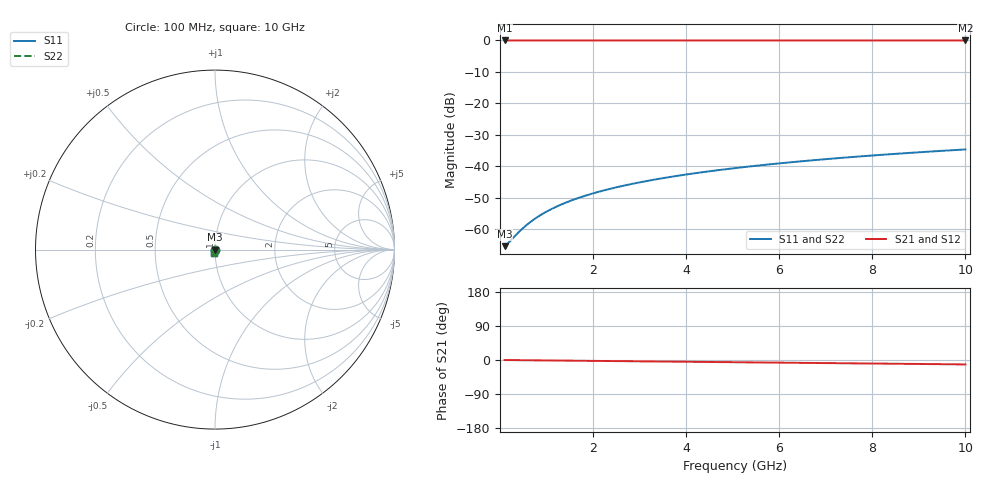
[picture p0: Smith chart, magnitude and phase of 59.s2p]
# Hz S RI R 50.00
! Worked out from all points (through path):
!   100 points, 100 MHz to 10 GHz, reference 50 ohm
!   highest |S21| = 0.00 dB at 100 MHz (marker M1); lowest = 0.0 dB at 10 GHz (marker M2)
!   group delay of S21, straight-line fit = 3.24 ps
!   lowest |S11| = -65.3 dB at 100 MHz (marker M3), VSWR 1.00, Z = 50.1 - j0.0185 ohm
!   |S11| at or under -10 dB: start of sweep to end of sweep
!   |S22| runs from -65.3 to -34.6 dB; largest |S21 - S12| = 0
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1e8  0.000508 -0.000185  0.9995 -0.00202  0.9995 -0.00202  0.000508 -0.000185
2e8  0.000509 -0.00037  0.9995 -0.00403  0.9995 -0.00403  0.000509 -0.00037
4e8  0.000507 -0.00074  0.9994 -0.00807  0.9994 -0.00807  0.000507 -0.00074
5e8  0.000504 -0.000925  0.9994 -0.0101  0.9994 -0.0101  0.000504 -0.000925
6e8  0.000501 -0.00111  0.9994 -0.0121  0.9994 -0.0121  0.000501 -0.00111
7e8  0.000496 -0.00129  0.9994 -0.0141  0.9994 -0.0141  0.000496 -0.00129
8e8  0.000491 -0.00148  0.9993 -0.0161  0.9993 -0.0161  0.000491 -0.00148
1e9  0.000478 -0.00185  0.9993 -0.0202  0.9993 -0.0202  0.000478 -0.00185
1.2e9  0.000461 -0.00222  0.9992 -0.0242  0.9992 -0.0242  0.000461 -0.00222
1.5e9  0.000431 -0.00278  0.999 -0.0303  0.999 -0.0303  0.000431 -0.00278
1.8e9  0.000394 -0.00333  0.9988 -0.0363  0.9988 -0.0363  0.000394 -0.00333
2.1e9  0.000349 -0.00389  0.9985 -0.0424  0.9985 -0.0424  0.000349 -0.00389
2.5e9  0.000279 -0.00463  0.9981 -0.0505  0.9981 -0.0505  0.000279 -0.00463
2.9e9  0.000197 -0.00538  0.9977 -0.0585  0.9977 -0.0585  0.000197 -0.00538
3.4e9  7.65e-05 -0.00631  0.997 -0.0686  0.997 -0.0686  7.65e-05 -0.00631
4.2e9  -0.000156 -0.00779  0.9958 -0.0848  0.9958 -0.0848  -0.000156 -0.00779
5.1e9  -0.000475 -0.00946  0.994 -0.103  0.994 -0.103  -0.000475 -0.00946
5.9e9  -0.000811 -0.0109  0.9922 -0.1192  0.9922 -0.1192  -0.000811 -0.0109
6.7e9  -0.00119 -0.0124  0.9901 -0.1353  0.9901 -0.1353  -0.00119 -0.0124
7.5e9  -0.00163 -0.0139  0.9877 -0.1515  0.9877 -0.1515  -0.00163 -0.0139
8.4e9  -0.00217 -0.0155  0.9847 -0.1696  0.9847 -0.1696  -0.00217 -0.0155
1e10  -0.00328 -0.0183  0.9785 -0.2019  0.9785 -0.2019  -0.00328 -0.0183
